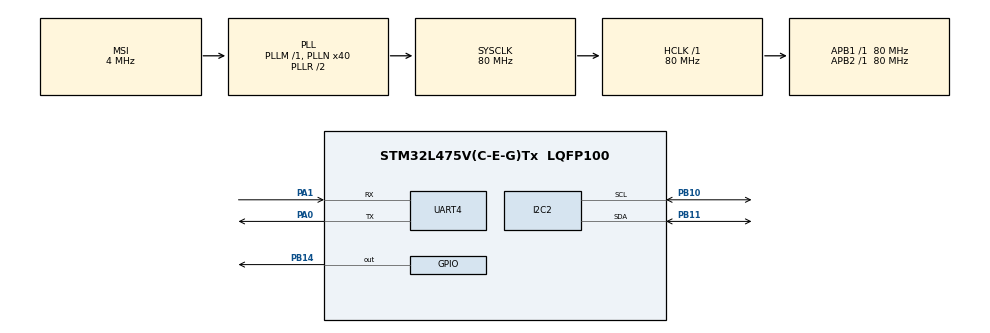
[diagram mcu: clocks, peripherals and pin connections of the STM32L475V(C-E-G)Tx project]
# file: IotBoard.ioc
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FREERTOS.Tasks01=defaultTask,0,128,StartDefaultTask,Default,NULL,Dynamic,NULL,NULL;tTask1000ms,-3,128,task1000ms,Default,NULL,Dynamic,NULL,NULL
Mcu.Family=STM32L4
Mcu.Name=STM32L475V(C-E-G)Tx
Mcu.Package=LQFP100
NVIC.PriorityGroup=NVIC_PRIORITYGROUP_4
NVIC.TIM3_IRQn=true\:0\:0\:false\:false\:true\:false\:false\:true
NVIC.TimeBase=TIM3_IRQn
NVIC.TimeBaseIP=TIM3
NVIC.UART4_IRQn=true\:5\:0\:false\:false\:true\:true\:true\:true
PA0.Mode=Asynchronous
PA0.Signal=UART4_TX
PA1.Mode=Asynchronous
PA1.Signal=UART4_RX
PB10.Mode=I2C
PB10.Signal=I2C2_SCL
PB11.Mode=I2C
PB11.Signal=I2C2_SDA
PB14.GPIO_ModeDefaultOutputPP=GPIO_MODE_OUTPUT_PP
PB14.PinState=GPIO_PIN_SET
PB14.Signal=GPIO_Output
ProjectManager.HeapSize=0x200
ProjectManager.StackSize=0x400
ProjectManager.TargetToolchain=EWARM V8
RCC.ADCFreq_Value=48000000
RCC.AHBFreq_Value=80000000
RCC.APB1Freq_Value=80000000
RCC.APB1TimFreq_Value=80000000
RCC.APB2Freq_Value=80000000
RCC.APB2TimFreq_Value=80000000
RCC.CortexFreq_Value=80000000
RCC.HCLKFreq_Value=80000000
RCC.HSE_VALUE=8000000
RCC.HSI_VALUE=16000000
RCC.LSE_VALUE=32768
RCC.MSI_VALUE=4000000
RCC.PLLN=40
RCC.PLLSAI1N=24
RCC.SYSCLKFreq_VALUE=80000000
RCC.SYSCLKSource=RCC_SYSCLKSOURCE_PLLCLK
RCC.USBFreq_Value=48000000
RCC.VCOOutputFreq_Value=160000000
VP_FREERTOS_VS_CMSIS_V1.Mode=CMSIS_V1
VP_SYS_VS_tim3.Mode=TIM3
board=B-L475E-IOT01A

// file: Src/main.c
/* USER CODE BEGIN Header */
/**
  ******************************************************************************
  * @file           : main.c
  * @brief          : Main program body
  ******************************************************************************
  * @attention
  *
  * <h2><center>&copy; Copyright (c) 2019 STMicroelectronics.
  * All rights reserved.</center></h2>
  *
  * This software component is licensed by ST under BSD 3-Clause license,
  * the "License"; You may not use this file except in compliance with the
  * License. You may obtain a copy of the License at:
  *                        opensource.org/licenses/BSD-3-Clause
  *
  ******************************************************************************
  */
/* USER CODE END Header */

#include "main.h"
#include "cmsis_os.h"
#include "i2c.h"
#include "usart.h"
#include "gpio.h"

/* USER CODE BEGIN Includes */
#include <stdbool.h>
#include <stdlib.h>
#include <stdio.h>
/* USER CODE END Includes */

void SystemClock_Config(void);
void MX_FREERTOS_Init(void);

/* USER CODE BEGIN 0 */

/*Works: 3c3d 5253 5a5b acad babb bebf d4d5*/
/*Only device 5a5b is a mistery
for(int i=0; i<256; ++i)
{
	HAL_StatusTypeDef res = HAL_I2C_IsDeviceReady(&hi2c2, i, 1, 10);
	if(res == HAL_OK)
	{
		uint8_t uu = i&0xFF;
		HAL_UART_Transmit(&huart4, &uu, 1, 10);
	}
}
*/

/* USER CODE END 0 */

int main(void)
{

  /* MCU Configuration--------------------------------------------------------*/

  /* Reset of all peripherals, Initializes the Flash interface and the Systick. */
  HAL_Init();

  /* Configure the system clock */
  SystemClock_Config();

  /* Initialize all configured peripherals */
  MX_GPIO_Init();
  MX_UART4_Init();
  MX_I2C2_Init();

  /* Call init function for freertos objects (in freertos.c) */
  MX_FREERTOS_Init();

  /* Start scheduler */
  osKernelStart();

  /* We should never get here as control is now taken by the scheduler */

  /* Infinite loop */
  while (1)
  {

  }
}

void SystemClock_Config(void)
{
  RCC_OscInitTypeDef RCC_OscInitStruct = {0};
  RCC_ClkInitTypeDef RCC_ClkInitStruct = {0};
  RCC_PeriphCLKInitTypeDef PeriphClkInit = {0};

  /** Initializes the CPU, AHB and APB busses clocks
  */
  RCC_OscInitStruct.OscillatorType = RCC_OSCILLATORTYPE_MSI;
  RCC_OscInitStruct.MSIState = RCC_MSI_ON;
  RCC_OscInitStruct.MSICalibrationValue = 0;
  RCC_OscInitStruct.MSIClockRange = RCC_MSIRANGE_6;
  RCC_OscInitStruct.PLL.PLLState = RCC_PLL_ON;
  RCC_OscInitStruct.PLL.PLLSource = RCC_PLLSOURCE_MSI;
  RCC_OscInitStruct.PLL.PLLM = 1;
  RCC_OscInitStruct.PLL.PLLN = 40;
  RCC_OscInitStruct.PLL.PLLP = RCC_PLLP_DIV7;
  RCC_OscInitStruct.PLL.PLLQ = RCC_PLLQ_DIV2;
  RCC_OscInitStruct.PLL.PLLR = RCC_PLLR_DIV2;
  if (HAL_RCC_OscConfig(&RCC_OscInitStruct) != HAL_OK)
  {
    Error_Handler();
  }
  /** Initializes the CPU, AHB and APB busses clocks
  */
  RCC_ClkInitStruct.ClockType = RCC_CLOCKTYPE_HCLK|RCC_CLOCKTYPE_SYSCLK
                              |RCC_CLOCKTYPE_PCLK1|RCC_CLOCKTYPE_PCLK2;
  RCC_ClkInitStruct.SYSCLKSource = RCC_SYSCLKSOURCE_PLLCLK;
  RCC_ClkInitStruct.AHBCLKDivider = RCC_SYSCLK_DIV1;
  RCC_ClkInitStruct.APB1CLKDivider = RCC_HCLK_DIV1;
  RCC_ClkInitStruct.APB2CLKDivider = RCC_HCLK_DIV1;

  if (HAL_RCC_ClockConfig(&RCC_ClkInitStruct, FLASH_LATENCY_4) != HAL_OK)
  {
    Error_Handler();
  }
  PeriphClkInit.PeriphClockSelection = RCC_PERIPHCLK_UART4|RCC_PERIPHCLK_I2C2;
  PeriphClkInit.Uart4ClockSelection = RCC_UART4CLKSOURCE_PCLK1;
  PeriphClkInit.I2c2ClockSelection = RCC_I2C2CLKSOURCE_PCLK1;
  if (HAL_RCCEx_PeriphCLKConfig(&PeriphClkInit) != HAL_OK)
  {
    Error_Handler();
  }
  /** Configure the main internal regulator output voltage
  */
  if (HAL_PWREx_ControlVoltageScaling(PWR_REGULATOR_VOLTAGE_SCALE1) != HAL_OK)
  {
    Error_Handler();
  }
}

void HAL_TIM_PeriodElapsedCallback(TIM_HandleTypeDef *htim)
{
  if (htim->Instance == TIM3) {
    HAL_IncTick();
  }
}

void Error_Handler(void)
{
}

/************************ (C) COPYRIGHT STMicroelectronics *****END OF FILE****/

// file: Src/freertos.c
/* USER CODE BEGIN Header */
/**
  ******************************************************************************
  * File Name          : freertos.c
  * Description        : Code for freertos applications
  ******************************************************************************
  * @attention
  *
  * <h2><center>&copy; Copyright (c) 2019 STMicroelectronics.
  * All rights reserved.</center></h2>
  *
  * This software component is licensed by ST under Ultimate Liberty license
  * SLA0044, the "License"; You may not use this file except in compliance with
  * the License. You may obtain a copy of the License at:
  *                             www.st.com/SLA0044
  *
  ******************************************************************************
  */
/* USER CODE END Header */

#include "FreeRTOS.h"
#include "task.h"
#include "main.h"
#include "cmsis_os.h"

/* USER CODE BEGIN Includes */
#include "HTS221.h"

/* USER CODE END Includes */

/* USER CODE BEGIN PM */
#ifdef __cplusplus
extern "C"{
#endif

/* USER CODE END PM */

/* USER CODE BEGIN Variables */

extern UART_HandleTypeDef huart4;
extern I2C_HandleTypeDef hi2c2;

/* USER CODE END Variables */
osThreadId defaultTaskHandle;
osThreadId tTask1000msHandle;

void StartDefaultTask(void const * argument);
void task1000ms(void const * argument);

void MX_FREERTOS_Init(void); /* (MISRA C 2004 rule 8.1) */

void MX_FREERTOS_Init(void) {

  /* Create the thread(s) */
  /* definition and creation of defaultTask */
  osThreadDef(defaultTask, StartDefaultTask, osPriorityNormal, 0, 128);
  defaultTaskHandle = osThreadCreate(osThread(defaultTask), NULL);

  /* definition and creation of tTask1000ms */
  osThreadDef(tTask1000ms, task1000ms, osPriorityIdle, 0, 128);
  tTask1000msHandle = osThreadCreate(osThread(tTask1000ms), NULL);

}

void StartDefaultTask(void const * argument)
{

  for(;;)
  {
    osDelay(1);
  }
}

void task1000ms(void const * argument)
{
  /* USER CODE BEGIN task1000ms */
  encender();
  calibrar_temp();
  calibrar_humedad();

  for(;;)
  {
    osDelay(1000);
    HAL_GPIO_TogglePin(GPIOB, GPIO_PIN_14);
    leer_temp();
    leer_humedad();

    imprimir_uart(&huart4);
  }
  /* USER CODE END task1000ms */
}

/* USER CODE BEGIN Application */
#ifdef __cplusplus
}
#endif
/* USER CODE END Application */

/************************ (C) COPYRIGHT STMicroelectronics *****END OF FILE****/
